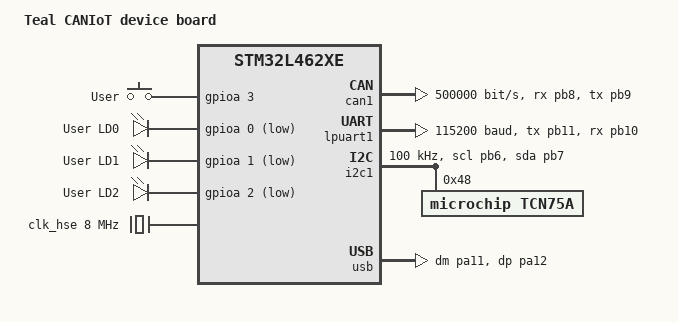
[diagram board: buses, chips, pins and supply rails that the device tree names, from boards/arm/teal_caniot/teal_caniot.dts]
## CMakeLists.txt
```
#
# Copyright (c) 2022 Lucas Dietrich <ld.adecy@gmail.com>
#
# SPDX-License-Identifier: Apache-2.0
#

cmake_minimum_required(VERSION 3.20.0)

set(BOARD_ROOT ${CMAKE_CURRENT_LIST_DIR})

set(EXTRA_ZEPHYR_MODULES
    ${CMAKE_CURRENT_SOURCE_DIR}/modules/caniot-lib
)

find_package(Zephyr REQUIRED HINTS $ENV{ZEPHYR_BASE})

project(teal-caniot-device)

add_subdirectory(src)

if (CONFIG_RUST)
    rust_cargo_application()
endif()
```

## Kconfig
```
menuconfig APPLICATION
    bool "Application"
    help
        Enable application

if APPLICATION

endif

menuconfig TEST
    bool "Test firmware"
    help
        Enable test configuration.
    

if TEST
rsource "src/test/Kconfig"
endif

menu "Zephyr Configuration"
source "Kconfig.zephyr"
endmenu
```

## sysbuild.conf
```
# Sysbuild configuration file.

# Enable MCUboot per default for this sample.
SB_CONFIG_BOOTLOADER_MCUBOOT=y
SB_CONFIG_BOOT_SIGNATURE_TYPE_NONE=y
```

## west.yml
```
manifest:
  remotes:
    - name: zephyrproject-rtos
      url-base: https://github.com/zephyrproject-rtos
    - name: lucasdietrich
      url-base: https://github.com/lucasdietrich
  projects:
    - name: zephyr-lang-rust
      path: modules/lang/rust
      remote: lucasdietrich
      revision: can
    - name: zephyr
      remote: zephyrproject-rtos
      revision: v4.1.0
      import: true
  self:
    path: teal-caniot-device
```

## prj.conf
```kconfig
#
# Copyright (c) 2024 Lucas Dietrich <ld.adecy@gmail.com>
#
# SPDX-License-Identifier: Apache-2.0
#

# Debug
# CONFIG_OUTPUT_DISASSEMBLY=y
# CONFIG_OUTPUT_SYMBOLS=y
# CONFIG_OUTPUT_STAT=y

CONFIG_KERNEL_BIN_NAME="teal"
CONFIG_DEBUG=y

CONFIG_USB_COMPOSITE_DEVICE=y

# We need to disable the logs in the USB CDC ACM driver otherwise 
# the logs will be printed on the (USB) console causing a chain reaction 
# (eventually recursion leading to a stack overflow)
CONFIG_USB_CDC_ACM_LOG_LEVEL_OFF=y

CONFIG_CANIOT_LIB=y
CONFIG_CANIOT_DEVICE_DRIVERS_API=y

CONFIG_TEST=y
CONFIG_STM32L4_MCO=y

CONFIG_CBPRINTF_FP_SUPPORT=y
```

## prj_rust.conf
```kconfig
#
# Copyright (c) 2024 Lucas Dietrich <ld.adecy@gmail.com>
#
# SPDX-License-Identifier: Apache-2.0
#

# Debug
# CONFIG_OUTPUT_DISASSEMBLY=y
# CONFIG_OUTPUT_SYMBOLS=y
# CONFIG_OUTPUT_STAT=y

CONFIG_KERNEL_BIN_NAME="teal"
CONFIG_DEBUG=y

CONFIG_LOG=y

CONFIG_CBPRINTF_FP_SUPPORT=y

CONFIG_MAIN_STACK_SIZE=4096

CONFIG_RUST=y
CONFIG_RUST_ALLOC=y

CONFIG_TEST=y
CONFIG_TEST_CAN=n
CONFIG_STM32L4_MCO=y
```

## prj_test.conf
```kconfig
#
# Copyright (c) 2024 Lucas Dietrich <ld.adecy@gmail.com>
#
# SPDX-License-Identifier: Apache-2.0
#

CONFIG_TEST=y
CONFIG_STM32L4_MCO=y

CONFIG_CANIOT_LIB=y
CONFIG_CANIOT_DEVICE_DRIVERS_API=y

CONFIG_CBPRINTF_FP_SUPPORT=y
```

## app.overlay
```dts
// / {
// 	chosen {
// 		zephyr,console = &usb_cdc_acm_console;
// 		zephyr,shell-uart = &usb_cdc_acm_console;
// 	};
// };

/* USB
 * requires CONFIG_USB_COMPOSITE_DEVICE=y
 */
&usb {
	/* Secondary CDC ACM interface for application purposes */
	usb_cdc_acm_alt: cdc_acm_uart1 {
		status = "okay";
		compatible = "zephyr,cdc-acm-uart";
	};
};
```

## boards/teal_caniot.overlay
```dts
// / {
// 	chosen {
// 		zephyr,console = &usb_cdc_acm_console;
// 		zephyr,shell-uart = &usb_cdc_acm_console;
// 	};
// };

/* USB
 * requires CONFIG_USB_COMPOSITE_DEVICE=y
 */
&usb {
	/* Secondary CDC ACM interface for application purposes */
	usb_cdc_acm_alt: cdc_acm_uart1 {
		status = "okay";
		compatible = "zephyr,cdc-acm-uart";
	};
};
```

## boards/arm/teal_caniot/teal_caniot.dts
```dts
/*
 * Copyright (c) 2024 Lucas Dietrich <ld.adecy@gmail.com>
 *
 * SPDX-License-Identifier: Apache-2.0
 */
 
 /dts-v1/;
 #include <st/l4/stm32l462Xe.dtsi>
 #include <st/l4/stm32l462retx-pinctrl.dtsi>
 #include <zephyr/dt-bindings/input/input-event-codes.h>


/ {
	model = "Teal CANIoT device board";
	compatible = "custom,teal_caniot";

	chosen {
		zephyr,sram = &sram0;
		zephyr,canbus = &can1;
		zephyr,flash = &flash0;
		zephyr,console = &lpuart1;
		zephyr,shell-uart = &lpuart1;
	};

	gpio_keys {
		compatible = "gpio-keys";
		user_button: button {
			label = "User";
			gpios = <&gpioa 3 GPIO_ACTIVE_HIGH>;
			zephyr,code = <INPUT_KEY_0>;
		};
	};

	leds: leds {
		compatible = "gpio-leds";
		red_led: led_0 {
			gpios = <&gpioa 0 GPIO_ACTIVE_LOW>;
			label = "User LD0";
		};
		green_led: led_1 {
			gpios = <&gpioa 1 GPIO_ACTIVE_LOW>;
			label = "User LD1";
		};
		blue_led: led_2 {
			gpios = <&gpioa 2 GPIO_ACTIVE_LOW>;
			label = "User LD2";
		};
	};

	aliases {
		sw0 = &user_button;
		led0 = &red_led;
		led1 = &green_led;
		led2 = &blue_led;
	};
};

/* clocks */
&clk_lsi {
	status = "okay";
};

&clk_hsi {
	status = "okay";
};

&pll {
	div-m = <1>;
	mul-n = <20>;
	div-r = <2>;
	div-q = <2>;
	div-p = <7>;
	clocks = <&clk_hse>;
	status = "okay";
};

&clk_hse {
	status = "okay";
	clock-frequency = < DT_FREQ_M(8) >;
};

&rcc {
	clocks = <&pll>;
	clock-frequency = <DT_FREQ_M(80)>;
	ahb-prescaler = <1>;
	apb1-prescaler = <1>;
	apb2-prescaler = <1>;
};

/* clock for USB */
&clk_hsi48 {
	status = "okay";
};

&can1 {
	status = "okay";
	pinctrl-0 = <&can1_rx_pb8 &can1_tx_pb9>;
	pinctrl-names = "default";
	bitrate = < 500000 >;
};

/* UARTs */
&lpuart1 {
	status = "okay";
	pinctrl-0 = <&lpuart1_tx_pb11 &lpuart1_rx_pb10>;
	pinctrl-names = "default";
	current-speed = < 115200 >;
};

&usart3 {
	status = "disabled";
	pinctrl-0 = <&usart3_tx_pc4 &usart3_rx_pc5>;
	pinctrl-names = "default";
	current-speed = < 115200 >;
};

&uart4 {
	status = "disabled";
	pinctrl-0 = <&uart4_tx_pc10 &uart4_rx_pc11>;
	pinctrl-names = "default";
	current-speed = < 115200 >;
};

/* I2C */
&i2c1 {
	status = "okay";
	pinctrl-0 = <&i2c1_scl_pb6 &i2c1_sda_pb7>;
	pinctrl-names = "default";
	clock-frequency = <I2C_BITRATE_STANDARD>; // I2C_BITRATE_FAST

	/* sensor address is 0x48 as A0A1A2=000 */
	tcn75a: tcn75a@48 {
		compatible = "microchip,tcn75a";
		reg = <0x48>;
		resolution = "9-bit"; // Oneshot mode requires 9 bit resolution
		oneshot-mode;
	};
};

/* SPIs */
&spi1 {
	status = "disabled";
	pinctrl-names = "default";
	pinctrl-0 = <&spi1_sck_pb3 &spi1_mosi_pb5 &spi1_miso_pb4>;
	cs-gpios = < &gpiob 2 (GPIO_ACTIVE_LOW | GPIO_PULL_UP) >;
};

&spi2 {
	status = "disabled";
	pinctrl-names = "default";
	pinctrl-0 = <&spi2_sck_pb13 &spi2_mosi_pb15 &spi2_miso_pb14>;
	cs-gpios = < &gpiob 12 (GPIO_ACTIVE_LOW | GPIO_PULL_UP) >;
};

/* ADC */
&adc1 {
	status = "disabled";
	pinctrl-0 = <
		&adc1_in1_pc0 &adc1_in2_pc1 &adc1_in3_pc2 &adc1_in4_pc3
		&adc1_in9_pa4 &adc1_in10_pa5 &adc1_in11_pa6 &adc1_in12_pa7
		&adc1_in15_pb0 &adc1_in16_pb1
	>;
	pinctrl-names = "default";
	st,adc-clock-source = "ASYNC";
	st,adc-prescaler = < 1 >; // TODO good value?
};

/* timers */
&timers1 {
	status = "disabled";
};

&timers2 {
	status = "disabled";
};

&timers3 {
	status = "disabled";
};

/* USB */
&usb {
	status = "okay";
	pinctrl-0 = <&usb_dm_pa11 &usb_dp_pa12>;
	pinctrl-names = "default";

	usb_cdc_acm_console: cdc_acm_uart0 {
		compatible = "zephyr,cdc-acm-uart";
	};
};
```

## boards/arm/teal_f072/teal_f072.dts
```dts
/*
 * Copyright (c) 2024 Lucas Dietrich <ld.adecy@gmail.com>
 *
 * SPDX-License-Identifier: Apache-2.0
 */
 
 /dts-v1/;
#include <st/f0/stm32f072Xb.dtsi>
#include <st/f0/stm32f072r(8-b)tx-pinctrl.dtsi>
#include <zephyr/dt-bindings/input/input-event-codes.h>


/ {
	model = "Teal F072 device board";
	compatible = "custom,teal_f072";

	chosen {
		zephyr,sram = &sram0;
		zephyr,canbus = &can1;
		zephyr,flash = &flash0;
		zephyr,console = &usart1;
	};
};

/* Clocks */
&clk_hse {
	status = "okay";
	clock-frequency = < DT_FREQ_M(8) >; // 8 MHz crystal
};

&clk_hsi {
	status = "okay";
};

&clk_lsi {
	status = "okay";
};

&pll {
	status = "okay";
	clocks = < &clk_hse >;
	prediv = < 1 >;
	mul = < 6 >;
};

&clk_hsi48 {
	status = "okay";
};


&rcc {
	clocks = < &pll >;
	clock-frequency = < DT_FREQ_M(48) >;
	ahb-prescaler = < 1 >;
	apb1-prescaler = < 1 >;
};


/* Communication */

&spi1 {
	status = "okay";
	pinctrl-names = "default";
	pinctrl-0 = <&spi1_sck_pb3 &spi1_mosi_pb5 &spi1_miso_pb4>;
};

&timers2 {
	status = "okay";
};

&adc1 {
	status = "okay";
	pinctrl-0 = <
		&adc_in4_pa4 &adc_in5_pa5 &adc_in6_pa6 &adc_in7_pa7 
		&adc_in8_pb0 &adc_in9_pb1 &adc_in10_pc0 &adc_in11_pc1 
		&adc_in12_pc2 &adc_in13_pc3
	>;
	pinctrl-names = "default";
	st,adc-clock-source = < ASYNC >;
	st,adc-prescaler = < 1 >; // TODO good value?
};

&timers3 {
	status = "okay";
};

&i2c2 {
	status = "okay";
	pinctrl-0 = <&i2c2_scl_pb10 &i2c2_sda_pb11>;
	pinctrl-names = "default";
	clock-frequency = <I2C_BITRATE_FAST>;
};

&can1
{
	status = "okay";
	pinctrl-names  = "default";
	pinctrl-0 = <&can_rx_pb8 &can_tx_pb9>;
	bitrate = <500000>;
};

&usart1 {
	status = "okay";
	pinctrl-names = "default";
	pinctrl-0 = <&usart1_tx_pb6 &usart1_rx_pb7>;
	current-speed = < 115200 >;
};

&usart4 {
	status = "okay";
	pinctrl-names = "default";
	pinctrl-0 = <&usart4_tx_pc10 &usart4_rx_pc11>;
	current-speed = < 115200 >;
};

/* USB */
&usb {
	status = "okay";

	usb_cdc_acm_uart {
		compatible = "zephyr,cdc-acm-uart";
	};
};
```

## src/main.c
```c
/*
 * Copyright (c) 2024 Lucas Dietrich <ld.adecy@gmail.com>
 *
 * SPDX-License-Identifier: Apache-2.0
 */

#include <zephyr/kernel.h>

#if defined(CONFIG_TEST)
#include <test.h>
#endif

int main(void)
{
	int ret;

#if defined(CONFIG_TEST)
	ret = test_main();
#endif

	for (;;) {
		printk("hello");
		k_sleep(K_MSEC(1000));
	}

	return 0;
}
```
